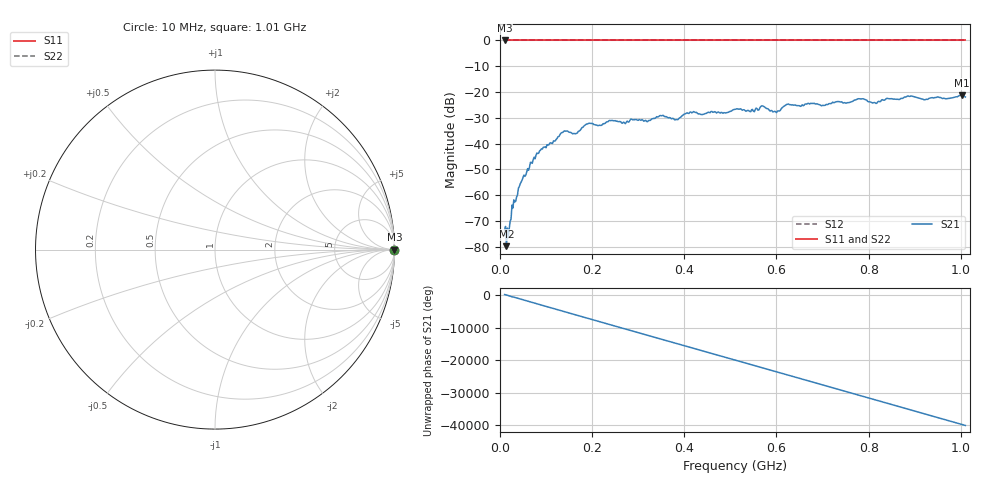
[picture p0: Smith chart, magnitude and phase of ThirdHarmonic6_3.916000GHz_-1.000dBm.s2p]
! 8/17/2025 1:48:34 PM
! C:\ANRITSUVNA\TEMP\TEMP.S2P
! CHANNEL.1
! TR.MEASUREMENT
! RAW.DATA
! RF.CORRECTION.OFF
! AVERAGING.OFF
! IF.BANDWIDTH: 5KHZ
! SWEEPTYPE:  FREQ.SWEEP(Linear)
! Reference Plane Port Info
! PORT:  PORT1  PORT2
! DISTANCE:  0  m  0  m
! TIME:  0  s  0  s
! PHASE.OFFSET:  0  deg.  0  deg.
! LOSS:  0  dB  0  dB
! REF.LOSS:  0  dB  0  dB
! REF.FREQ:  0  Hz  0  Hz
! Power Info
! POWER:  -20  dBm  -20  dBm
! EFF.POWER:  -20  dBm  -20  dBm
! SOURCE.ATTEN:  0  dB  0  dB
! TEST.ATTEN:  0  dB  0  dB
# GHZ S RI R 50.0
! FREQ.GHZ  S11RE  S11IM  S21RE  S21IM  S12RE  S12IM  S22RE  S22IM
!; PortSelection: Port_12
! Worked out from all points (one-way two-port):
!   501 points, 10 MHz to 1.01 GHz, reference 50 ohm
!   highest |S21| = -21.21 dB at 1.002 GHz (marker M1); lowest = -79.7 dB at 14 MHz (marker M2)
!   lowest |S11| = 0.0 dB at 10 MHz (marker M3)
!   |S11| at or under -10 dB: nowhere
!   |S22| runs from 0.0 to 0.0 dB; largest |S21 - S12| = 1.1
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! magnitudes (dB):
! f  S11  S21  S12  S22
! 10 MHz  0.0  -73.7  0.0  0.0
! 14 MHz  0.0  -79.7  0.0  0.0
! 18 MHz  0.0  -76.5  0.0  0.0
! 28 MHz  0.0  -65.0  0.0  0.0
! 44 MHz  0.0  -55.5  0.0  0.0
! 76 MHz  0.0  -45.9  0.0  0.0
! 136 MHz  0.0  -35.6  0.0  0.0
! 164 MHz  0.0  -36.2  0.0  0.0
! 178 MHz  0.0  -33.8  0.0  0.0
! 344 MHz  0.0  -29.6  0.0  0.0
! 382 MHz  0.0  -30.7  0.0  0.0
! 416 MHz  0.0  -28.0  0.0  0.0
! 510 MHz  0.0  -26.7  0.0  0.0
! 570 MHz  0.0  -25.4  0.0  0.0
! 596 MHz  0.0  -27.4  0.0  0.0
! 624 MHz  0.0  -24.7  0.0  0.0
! 678 MHz  0.0  -24.4  0.0  0.0
! 782 MHz  0.0  -22.7  0.0  0.0
! 814 MHz  0.0  -24.1  0.0  0.0
! 844 MHz  0.0  -22.6  0.0  0.0
! 1.002 GHz  0.0  -21.2  0.0  0.0
! 1.01 GHz  0.0  -21.9  0.0  0.0
